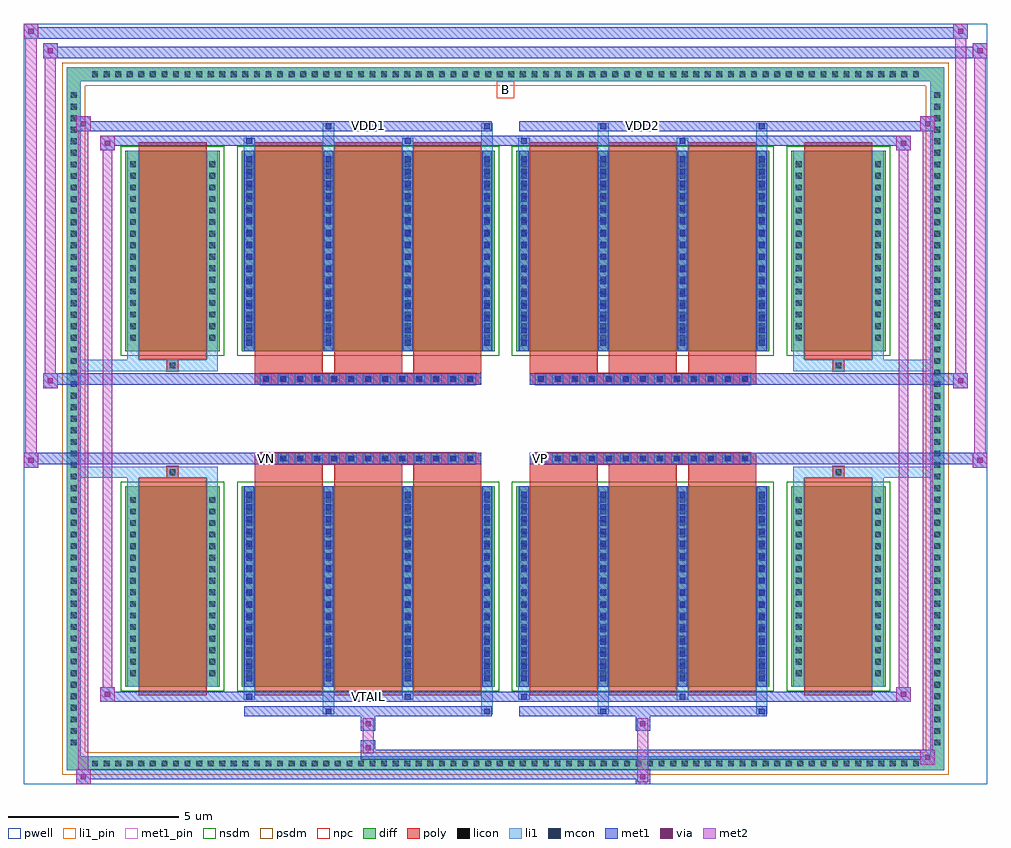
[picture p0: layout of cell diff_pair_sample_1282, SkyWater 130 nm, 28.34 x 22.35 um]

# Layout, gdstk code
import gdstk
lib = gdstk.Library(unit=1e-6, precision=5e-09)
def R(c, l, rs):  # rectangles x0, y0, x1, y1
    for r in rs: c.add(gdstk.rectangle(r[:2], r[2:], *l))
def A(c, l, x, y, w, h, nx, ny, dx, dy):  # array of equal rectangles
    R(c, l, [(x+i*dx, y+j*dy, x+i*dx+w, y+j*dy+h) for i in range(nx) for j in range(ny)])
def P(c, l, *ps):  # polygons
    for p in ps: c.add(gdstk.Polygon(p, *l))
pwell = (64, 44)
diff = (65, 20)
poly = (66, 20)
licon = (66, 44)
li1_pin = (67, 16)
li1 = (67, 20)
mcon = (67, 44)
met1_pin = (68, 16)
met1 = (68, 20)
via = (68, 44)
met2 = (69, 20)
nsdm = (93, 44)
psdm = (94, 20)
npc = (95, 20)

diff_pair_sample_1282 = lib.new_cell('diff_pair_sample_1282')
R(diff_pair_sample_1282, pwell, [(-14.17,-10.74,14.17,11.61), (-11.49,-8.93,-0.01,-0.805), (0.01,-8.93,11.49,-0.805), (-11.49,0.805,-0.01,8.93), (0.01,0.805,11.49,8.93)])
A(diff_pair_sample_1282, diff, -12.275, -10.34, 0.41, 0.41, 72, 2, 0.34, 20.27)
A(diff_pair_sample_1282, diff, -12.9, -9.725, 0.41, 0.41, 1, 57, 0, 0.34)
A(diff_pair_sample_1282, diff, 12.49, -9.725, 0.41, 0.41, 1, 57, 0, 0.34)
R(diff_pair_sample_1282, diff, [(-12.275,-10.34,12.275,-9.93), (-12.9,-9.725,-12.49,9.725), (12.49,-9.725,12.9,9.725), (-11.18,-7.885,-8.4,-1.985), (-7.76,-7.885,-0.32,-1.985), (0.32,-7.885,7.76,-1.985), (8.4,-7.885,11.18,-1.985), (-11.18,1.985,-8.4,7.885), (-7.76,1.985,-0.32,7.885), (0.32,1.985,7.76,7.885), (8.4,1.985,11.18,7.885), (-12.275,9.93,12.275,10.34)])
P(diff_pair_sample_1282, diff, [(12.9,10.34),(-12.9,10.34),(-12.9,-9.93),(-12.49,-9.93),(-12.49,9.93),(12.49,9.93),(12.49,-9.93),(-12.49,-9.93),(-12.9,-9.93),(-12.9,-10.34),(12.9,-10.34)])
A(diff_pair_sample_1282, poly, -7.37, -8.135, 2, 6.4, 3, 2, 2.33, 9.87)
A(diff_pair_sample_1282, poly, 0.71, -8.135, 2, 6.4, 3, 2, 2.33, 9.87)
A(diff_pair_sample_1282, poly, -7.37, -1.735, 2, 0.4, 3, 2, 2.33, 3.07)
A(diff_pair_sample_1282, poly, 0.71, -1.735, 2, 0.4, 3, 2, 2.33, 3.07)
A(diff_pair_sample_1282, poly, -7.205, -1.335, 0.33, 0.33, 13, 2, 0.5, 2.34)
A(diff_pair_sample_1282, poly, 0.875, -1.335, 0.33, 0.33, 13, 2, 0.5, 2.34)
R(diff_pair_sample_1282, poly, [(-10.79,-8.135,-8.79,-1.735), (8.79,-8.135,10.79,-1.735), (-9.955,-1.735,-9.625,-1.405), (-9.955,-1.735,-9.625,-1.405), (9.625,-1.735,9.955,-1.405), (9.625,-1.735,9.955,-1.405), (-7.37,-1.335,-0.71,-1.005), (0.71,-1.335,7.37,-1.005), (-7.37,1.005,-0.71,1.335), (0.71,1.005,7.37,1.335), (-9.955,1.405,-9.625,1.735), (-9.955,1.405,-9.625,1.735), (9.625,1.405,9.955,1.735), (9.625,1.405,9.955,1.735), (-10.79,1.735,-8.79,8.135), (8.79,1.735,10.79,8.135)])
A(diff_pair_sample_1282, licon, -12.155, -10.22, 0.17, 0.17, 72, 2, 0.34, 20.27)
A(diff_pair_sample_1282, licon, -12.78, -9.605, 0.17, 0.17, 1, 57, 0, 0.34)
A(diff_pair_sample_1282, licon, 12.61, -9.605, 0.17, 0.17, 1, 57, 0, 0.34)
A(diff_pair_sample_1282, licon, -11.04, -7.57, 0.17, 0.17, 1, 16, 0, 0.34)
A(diff_pair_sample_1282, licon, -8.71, -7.57, 0.17, 0.17, 1, 16, 0, 0.34)
A(diff_pair_sample_1282, licon, -7.62, -7.57, 0.17, 0.17, 4, 16, 2.33, 0.34)
A(diff_pair_sample_1282, licon, 0.46, -7.57, 0.17, 0.17, 4, 16, 2.33, 0.34)
A(diff_pair_sample_1282, licon, 8.54, -7.57, 0.17, 0.17, 1, 16, 0, 0.34)
A(diff_pair_sample_1282, licon, 10.87, -7.57, 0.17, 0.17, 1, 16, 0, 0.34)
A(diff_pair_sample_1282, licon, -7.125, -1.255, 0.17, 0.17, 13, 2, 0.5, 2.34)
A(diff_pair_sample_1282, licon, 0.955, -1.255, 0.17, 0.17, 13, 2, 0.5, 2.34)
A(diff_pair_sample_1282, licon, -11.04, 2.3, 0.17, 0.17, 1, 16, 0, 0.34)
A(diff_pair_sample_1282, licon, -8.71, 2.3, 0.17, 0.17, 1, 16, 0, 0.34)
A(diff_pair_sample_1282, licon, -7.62, 2.3, 0.17, 0.17, 4, 16, 2.33, 0.34)
A(diff_pair_sample_1282, licon, 0.46, 2.3, 0.17, 0.17, 4, 16, 2.33, 0.34)
A(diff_pair_sample_1282, licon, 8.54, 2.3, 0.17, 0.17, 1, 16, 0, 0.34)
A(diff_pair_sample_1282, licon, 10.87, 2.3, 0.17, 0.17, 1, 16, 0, 0.34)
R(diff_pair_sample_1282, licon, [(-9.875,-1.655,-9.705,-1.485), (9.705,-1.655,9.875,-1.485), (-9.875,1.485,-9.705,1.655), (9.705,1.485,9.875,1.655)])
R(diff_pair_sample_1282, li1_pin, [(-0.25,9.43,0.25,9.93)])
A(diff_pair_sample_1282, li1, -12.235, -10.3, 0.33, 0.33, 72, 2, 0.34, 20.27)
A(diff_pair_sample_1282, li1, -12.86, -9.685, 0.33, 0.33, 1, 57, 0, 0.34)
A(diff_pair_sample_1282, li1, 12.53, -9.685, 0.33, 0.33, 1, 57, 0, 0.34)
A(diff_pair_sample_1282, li1, -7.7, -7.885, 0.33, 5.9, 4, 2, 2.33, 9.87)
A(diff_pair_sample_1282, li1, 0.38, -7.885, 0.33, 5.9, 4, 2, 2.33, 9.87)
A(diff_pair_sample_1282, li1, -7.62, -7.72, 0.17, 0.17, 4, 16, 2.33, 0.36)
A(diff_pair_sample_1282, li1, -7.62, -7.72, 0.17, 5.57, 4, 2, 2.33, 9.87)
A(diff_pair_sample_1282, li1, 0.46, -7.72, 0.17, 0.17, 4, 16, 2.33, 0.36)
A(diff_pair_sample_1282, li1, 0.46, -7.72, 0.17, 5.57, 4, 2, 2.33, 9.87)
A(diff_pair_sample_1282, li1, -11.12, -7.65, 0.33, 0.33, 1, 16, 0, 0.34)
A(diff_pair_sample_1282, li1, -8.79, -7.65, 0.33, 0.33, 1, 16, 0, 0.34)
A(diff_pair_sample_1282, li1, -7.7, -7.65, 0.33, 0.33, 4, 16, 2.33, 0.34)
A(diff_pair_sample_1282, li1, 0.38, -7.65, 0.33, 0.33, 4, 16, 2.33, 0.34)
A(diff_pair_sample_1282, li1, 8.46, -7.65, 0.33, 0.33, 1, 16, 0, 0.34)
A(diff_pair_sample_1282, li1, 10.79, -7.65, 0.33, 0.33, 1, 16, 0, 0.34)
A(diff_pair_sample_1282, li1, -7.205, -1.335, 0.33, 0.33, 13, 2, 0.5, 2.34)
A(diff_pair_sample_1282, li1, 0.875, -1.335, 0.33, 0.33, 13, 2, 0.5, 2.34)
A(diff_pair_sample_1282, li1, -7.62, 2.15, 0.17, 0.17, 4, 16, 2.33, 0.36)
A(diff_pair_sample_1282, li1, 0.46, 2.15, 0.17, 0.17, 4, 16, 2.33, 0.36)
A(diff_pair_sample_1282, li1, -11.12, 2.22, 0.33, 0.33, 1, 16, 0, 0.34)
A(diff_pair_sample_1282, li1, -8.79, 2.22, 0.33, 0.33, 1, 16, 0, 0.34)
A(diff_pair_sample_1282, li1, -7.7, 2.22, 0.33, 0.33, 4, 16, 2.33, 0.34)
A(diff_pair_sample_1282, li1, 0.38, 2.22, 0.33, 0.33, 4, 16, 2.33, 0.34)
A(diff_pair_sample_1282, li1, 8.46, 2.22, 0.33, 0.33, 1, 16, 0, 0.34)
A(diff_pair_sample_1282, li1, 10.79, 2.22, 0.33, 0.33, 1, 16, 0, 0.34)
R(diff_pair_sample_1282, li1, [(-12.9,-10.34,-12.49,-9.93), (-12.9,-10.34,-12.49,-9.93), (-12.49,-10.34,12.49,-9.93), (12.49,-10.34,12.9,-9.93), (12.49,-10.34,12.9,-9.93), (-12.9,-9.93,-12.49,9.93), (12.49,-9.93,12.9,9.93), (-5.37,-8.69,-5.04,-7.885), (-5.29,-8.69,-5.12,-8.52), (-0.71,-8.69,-0.38,-7.885), (-0.63,-8.69,-0.46,-8.52), (2.71,-8.69,3.04,-7.885), (2.79,-8.69,2.96,-8.52), (7.37,-8.69,7.7,-7.885), (7.45,-8.69,7.62,-8.52), (-7.7,-8.26,-7.37,-7.885), (-7.62,-8.26,-7.45,-8.09), (-3.04,-8.26,-2.71,-7.885), (-2.96,-8.26,-2.79,-8.09), (0.38,-8.26,0.71,-7.885), (0.46,-8.26,0.63,-8.09), (5.04,-8.26,5.37,-7.885), (5.12,-8.26,5.29,-8.09), (-11.12,-7.885,-10.79,-1.985), (-8.79,-7.885,-8.46,-1.985), (8.46,-7.885,8.79,-1.985), (10.79,-7.885,11.12,-1.985), (-11.12,-1.985,-10.79,-1.405), (-8.79,-1.985,-8.46,-1.405), (8.46,-1.985,8.79,-1.405), (10.79,-1.985,11.12,-1.405), (-12.9,-1.735,-9.955,-1.405), (-11.12,-1.735,-9.955,-1.405), (-9.955,-1.735,-9.625,-1.405), (-9.625,-1.735,-8.46,-1.405), (8.46,-1.735,9.625,-1.405), (9.625,-1.735,9.955,-1.405), (9.625,-1.735,12.9,-1.405), (9.955,-1.735,11.12,-1.405), (-12.9,1.405,-9.955,1.735), (-11.12,1.405,-9.955,1.735), (-11.12,1.405,-10.79,1.985), (-9.955,1.405,-9.625,1.735), (-9.625,1.405,-8.46,1.735), (-8.79,1.405,-8.46,1.985), (8.46,1.405,9.625,1.735), (8.46,1.405,8.79,1.985), (9.625,1.405,9.955,1.735), (9.625,1.405,12.9,1.735), (9.955,1.405,11.12,1.735), (10.79,1.405,11.12,1.985), (-11.12,1.985,-10.79,7.885), (-8.79,1.985,-8.46,7.885), (8.46,1.985,8.79,7.885), (10.79,1.985,11.12,7.885), (-7.7,7.885,-7.37,8.26), (-5.37,7.885,-5.04,8.69), (-3.04,7.885,-2.71,8.26), (-0.71,7.885,-0.38,8.69), (0.38,7.885,0.71,8.26), (2.71,7.885,3.04,8.69), (5.04,7.885,5.37,8.26), (7.37,7.885,7.7,8.69), (-7.62,8.09,-7.45,8.26), (-2.96,8.09,-2.79,8.26), (0.46,8.09,0.63,8.26), (5.12,8.09,5.29,8.26), (-5.29,8.52,-5.12,8.69), (-0.63,8.52,-0.46,8.69), (2.79,8.52,2.96,8.69), (7.45,8.52,7.62,8.69), (-12.9,9.93,-12.49,10.34), (-12.9,9.93,-12.49,10.34), (-12.49,9.93,12.49,10.34), (12.49,9.93,12.9,10.34), (12.49,9.93,12.9,10.34)])
A(diff_pair_sample_1282, mcon, -7.62, -7.72, 0.17, 0.17, 4, 16, 2.33, 0.36)
A(diff_pair_sample_1282, mcon, 0.46, -7.72, 0.17, 0.17, 4, 16, 2.33, 0.36)
A(diff_pair_sample_1282, mcon, -7.125, -1.255, 0.17, 0.17, 13, 2, 0.5, 2.34)
A(diff_pair_sample_1282, mcon, 0.955, -1.255, 0.17, 0.17, 13, 2, 0.5, 2.34)
A(diff_pair_sample_1282, mcon, -7.62, 2.15, 0.17, 0.17, 4, 16, 2.33, 0.36)
A(diff_pair_sample_1282, mcon, 0.46, 2.15, 0.17, 0.17, 4, 16, 2.33, 0.36)
R(diff_pair_sample_1282, mcon, [(-5.29,-8.69,-5.12,-8.52), (-0.63,-8.69,-0.46,-8.52), (2.79,-8.69,2.96,-8.52), (7.45,-8.69,7.62,-8.52), (-7.62,-8.26,-7.45,-8.09), (-2.96,-8.26,-2.79,-8.09), (0.46,-8.26,0.63,-8.09), (5.12,-8.26,5.29,-8.09), (-7.62,8.09,-7.45,8.26), (-2.96,8.09,-2.79,8.26), (0.46,8.09,0.63,8.26), (5.12,8.09,5.29,8.26), (-5.29,8.52,-5.12,8.69), (-0.63,8.52,-0.46,8.69), (2.79,8.52,2.96,8.69), (7.45,8.52,7.62,8.69)])
R(diff_pair_sample_1282, met1_pin, [(-4.175,-8.3,-3.905,-8.03), (-7.175,-1.295,-6.905,-1.025), (0.905,-1.295,1.175,-1.025), (-4.175,8.48,-3.905,8.75), (3.905,8.48,4.175,8.75)])
A(diff_pair_sample_1282, met1, -7.68, -7.885, 0.29, 5.9, 4, 2, 2.33, 9.87)
A(diff_pair_sample_1282, met1, 0.4, -7.885, 0.29, 5.9, 4, 2, 2.33, 9.87)
A(diff_pair_sample_1282, met1, -7.68, -7.78, 0.29, 0.29, 4, 16, 2.33, 0.36)
A(diff_pair_sample_1282, met1, 0.4, -7.78, 0.29, 0.29, 4, 16, 2.33, 0.36)
A(diff_pair_sample_1282, met1, -7.185, -1.315, 0.29, 0.29, 13, 2, 0.5, 2.34)
A(diff_pair_sample_1282, met1, 0.895, -1.315, 0.29, 0.29, 13, 2, 0.5, 2.34)
A(diff_pair_sample_1282, met1, -7.68, 2.09, 0.29, 0.29, 4, 16, 2.33, 0.36)
A(diff_pair_sample_1282, met1, 0.4, 2.09, 0.29, 0.29, 4, 16, 2.33, 0.36)
R(diff_pair_sample_1282, met1, [(-12.63,-10.74,-12.2,-10.31), (3.825,-10.74,4.255,-10.31), (-12.63,-10.6,4.255,-10.31), (12.2,-10.17,12.63,-9.74), (-4.255,-10.03,12.63,-9.74), (-4.255,-9.89,-3.825,-9.46), (-4.255,-9.18,-3.825,-8.75), (3.825,-9.18,4.255,-8.75), (-7.68,-8.75,-0.4,-8.46), (-5.35,-8.75,-5.06,-8.46), (-0.69,-8.75,-0.4,-8.46), (0.4,-8.75,7.68,-8.46), (2.73,-8.75,3.02,-8.46), (7.39,-8.75,7.68,-8.46), (-11.92,-8.32,-11.49,-7.89), (-11.92,-8.32,-7.68,-8.03), (-7.68,-8.32,-7.39,-8.03), (-7.68,-8.32,-0.4,-8.03), (-3.02,-8.32,-2.73,-8.03), (-0.4,-8.32,0.4,-8.03), (0.4,-8.32,0.69,-8.03), (0.4,-8.32,7.68,-8.03), (5.06,-8.32,5.35,-8.03), (7.68,-8.32,11.92,-8.03), (11.49,-8.32,11.92,-7.89), (-14.17,-1.435,-13.74,-1.005), (13.74,-1.435,14.17,-1.005), (-14.17,-1.335,-0.71,-1.005), (-7.37,-1.335,-0.71,-1.005), (0.71,-1.335,7.37,-1.005), (0.71,-1.335,14.17,-1.005), (-13.6,0.905,-13.17,1.335), (13.17,0.905,13.6,1.335), (-13.6,1.005,-7.37,1.335), (-7.37,1.005,-0.71,1.335), (0.71,1.005,7.37,1.335), (7.37,1.005,13.6,1.335), (-11.92,7.89,-11.49,8.32), (11.49,7.89,11.92,8.32), (-11.92,8.03,-7.68,8.32), (-7.68,8.03,-7.39,8.32), (-7.68,8.03,-0.4,8.32), (-3.02,8.03,-2.73,8.32), (-0.4,8.03,0.4,8.32), (0.4,8.03,0.69,8.32), (0.4,8.03,7.68,8.32), (5.06,8.03,5.35,8.32), (7.68,8.03,11.92,8.32), (-12.63,8.46,-12.2,8.89), (-12.63,8.46,-7.68,8.75), (-7.68,8.46,-0.4,8.75), (-5.35,8.46,-5.06,8.75), (-0.69,8.46,-0.4,8.75), (0.4,8.46,7.68,8.75), (2.73,8.46,3.02,8.75), (7.39,8.46,7.68,8.75), (7.68,8.46,12.63,8.75), (12.2,8.46,12.63,8.89), (-13.6,10.61,-13.17,11.04), (-13.6,10.61,-11.49,10.94), (-11.49,10.61,11.49,10.94), (11.49,10.61,14.17,10.94), (13.74,10.61,14.17,11.04), (-14.17,11.18,-13.74,11.61), (-14.17,11.18,-11.49,11.51), (-11.49,11.18,11.49,11.51), (11.49,11.18,13.6,11.51), (13.17,11.18,13.6,11.61)])
R(diff_pair_sample_1282, via, [(-12.49,-10.6,-12.34,-10.45), (3.965,-10.6,4.115,-10.45), (12.34,-10.03,12.49,-9.88), (-4.115,-9.75,-3.965,-9.6), (-4.115,-9.04,-3.965,-8.89), (3.965,-9.04,4.115,-8.89), (-11.78,-8.18,-11.63,-8.03), (11.63,-8.18,11.78,-8.03), (-14.03,-1.295,-13.88,-1.145), (13.88,-1.295,14.03,-1.145), (-13.46,1.045,-13.31,1.195), (13.31,1.045,13.46,1.195), (-11.78,8.03,-11.63,8.18), (11.63,8.03,11.78,8.18), (-12.49,8.6,-12.34,8.75), (12.34,8.6,12.49,8.75), (-13.46,10.75,-13.31,10.9), (13.88,10.75,14.03,10.9), (-14.03,11.32,-13.88,11.47), (13.31,11.32,13.46,11.47)])
R(diff_pair_sample_1282, met2, [(-12.63,-10.74,-12.2,-10.31), (-12.56,-10.74,-12.27,8.89), (-12.27,-10.74,-12.2,-10.31), (-12.58,-10.69,-12.25,-10.36), (3.875,-10.69,4.205,-10.36), (3.875,-10.36,4.205,-9.13), (12.2,-10.17,12.63,-9.74), (12.27,-10.17,12.56,8.89), (12.56,-10.17,12.63,-9.74), (12.25,-10.12,12.58,-9.79), (-4.205,-9.84,-3.875,-9.51), (-4.205,-9.51,-3.875,-9.13), (-4.205,-9.13,-3.875,-8.8), (3.875,-9.13,4.205,-8.8), (-11.92,-8.32,-11.49,-7.89), (-11.85,-8.32,-11.56,8.32), (-11.56,-8.32,-11.49,-7.89), (11.49,-8.32,11.92,-7.89), (11.56,-8.32,11.85,8.32), (11.85,-8.32,11.92,-7.89), (-11.87,-8.27,-11.54,-7.94), (11.54,-8.27,11.87,-7.94), (-14.17,-1.435,-13.74,-1.005), (-14.12,-1.435,-13.79,11.61), (-13.79,-1.435,-13.74,-1.005), (13.74,-1.435,14.17,-1.005), (13.79,-1.435,14.12,11.04), (14.12,-1.435,14.17,-1.005), (-14.12,-1.385,-13.79,-1.055), (13.79,-1.385,14.12,-1.055), (-13.6,0.905,-13.17,1.335), (-13.55,0.905,-13.22,11.04), (-13.22,0.905,-13.17,1.335), (13.17,0.905,13.6,1.335), (13.22,0.905,13.55,11.61), (13.55,0.905,13.6,1.335), (-13.55,0.955,-13.22,1.285), (13.22,0.955,13.55,1.285), (-11.92,7.89,-11.49,8.32), (-11.56,7.89,-11.49,8.32), (11.49,7.89,11.92,8.32), (11.85,7.89,11.92,8.32), (-11.87,7.94,-11.54,8.27), (11.54,7.94,11.87,8.27), (-12.63,8.46,-12.2,8.89), (-12.27,8.46,-12.2,8.89), (12.2,8.46,12.63,8.89), (12.56,8.46,12.63,8.89), (-12.58,8.51,-12.25,8.84), (12.25,8.51,12.58,8.84), (-13.6,10.61,-13.17,11.04), (-13.22,10.61,-13.17,11.04), (13.74,10.61,14.17,11.04), (14.12,10.61,14.17,11.04), (-13.55,10.66,-13.22,10.99), (13.79,10.66,14.12,10.99), (-14.17,11.18,-13.74,11.61), (-13.79,11.18,-13.74,11.61), (13.17,11.18,13.6,11.61), (13.55,11.18,13.6,11.61), (-14.12,11.23,-13.79,11.56), (13.22,11.23,13.55,11.56)])
R(diff_pair_sample_1282, nsdm, [(-11.31,-8.015,-8.27,-1.855), (-7.89,-8.015,-0.19,-1.855), (0.19,-8.015,7.89,-1.855), (8.27,-8.015,11.31,-1.855), (-11.31,1.855,-8.27,8.015), (-7.89,1.855,-0.19,8.015), (0.19,1.855,7.89,8.015), (8.27,1.855,11.31,8.015)])
P(diff_pair_sample_1282, psdm, [(13.03,10.47),(-13.03,10.47),(-13.03,-9.8),(-12.36,-9.8),(-12.36,9.8),(12.36,9.8),(12.36,-9.8),(-12.36,-9.8),(-13.03,-9.8),(-13.03,-10.47),(13.03,-10.47)])
A(diff_pair_sample_1282, npc, -7.225, -1.355, 0.37, 0.37, 13, 2, 0.5, 2.34)
A(diff_pair_sample_1282, npc, 0.855, -1.355, 0.37, 0.37, 13, 2, 0.5, 2.34)
R(diff_pair_sample_1282, npc, [(-9.975,-1.755,-9.605,-1.385), (9.605,-1.755,9.975,-1.385), (-7.225,-1.355,-6.355,-0.985), (-7.225,-1.355,-6.355,-0.985), (-6.725,-1.355,-5.855,-0.985), (-6.725,-1.355,-5.855,-0.985), (-6.225,-1.355,-5.355,-0.985), (-6.225,-1.355,-5.355,-0.985), (-5.725,-1.355,-4.855,-0.985), (-5.725,-1.355,-4.855,-0.985), (-5.225,-1.355,-4.355,-0.985), (-5.225,-1.355,-4.355,-0.985), (-4.725,-1.355,-3.855,-0.985), (-4.725,-1.355,-3.855,-0.985), (-4.225,-1.355,-3.355,-0.985), (-4.225,-1.355,-3.355,-0.985), (-3.725,-1.355,-2.855,-0.985), (-3.725,-1.355,-2.855,-0.985), (-3.225,-1.355,-2.355,-0.985), (-3.225,-1.355,-2.355,-0.985), (-2.725,-1.355,-1.855,-0.985), (-2.725,-1.355,-1.855,-0.985), (-2.225,-1.355,-1.355,-0.985), (-2.225,-1.355,-1.355,-0.985), (-1.725,-1.355,-0.855,-0.985), (-1.725,-1.355,-0.855,-0.985), (0.855,-1.355,1.725,-0.985), (0.855,-1.355,1.725,-0.985), (1.355,-1.355,2.225,-0.985), (1.355,-1.355,2.225,-0.985), (1.855,-1.355,2.725,-0.985), (1.855,-1.355,2.725,-0.985), (2.355,-1.355,3.225,-0.985), (2.355,-1.355,3.225,-0.985), (2.855,-1.355,3.725,-0.985), (2.855,-1.355,3.725,-0.985), (3.355,-1.355,4.225,-0.985), (3.355,-1.355,4.225,-0.985), (3.855,-1.355,4.725,-0.985), (3.855,-1.355,4.725,-0.985), (4.355,-1.355,5.225,-0.985), (4.355,-1.355,5.225,-0.985), (4.855,-1.355,5.725,-0.985), (4.855,-1.355,5.725,-0.985), (5.355,-1.355,6.225,-0.985), (5.355,-1.355,6.225,-0.985), (5.855,-1.355,6.725,-0.985), (5.855,-1.355,6.725,-0.985), (6.355,-1.355,7.225,-0.985), (6.355,-1.355,7.225,-0.985), (-7.225,0.985,-6.355,1.355), (-7.225,0.985,-6.355,1.355), (-6.725,0.985,-5.855,1.355), (-6.725,0.985,-5.855,1.355), (-6.225,0.985,-5.355,1.355), (-6.225,0.985,-5.355,1.355), (-5.725,0.985,-4.855,1.355), (-5.725,0.985,-4.855,1.355), (-5.225,0.985,-4.355,1.355), (-5.225,0.985,-4.355,1.355), (-4.725,0.985,-3.855,1.355), (-4.725,0.985,-3.855,1.355), (-4.225,0.985,-3.355,1.355), (-4.225,0.985,-3.355,1.355), (-3.725,0.985,-2.855,1.355), (-3.725,0.985,-2.855,1.355), (-3.225,0.985,-2.355,1.355), (-3.225,0.985,-2.355,1.355), (-2.725,0.985,-1.855,1.355), (-2.725,0.985,-1.855,1.355), (-2.225,0.985,-1.355,1.355), (-2.225,0.985,-1.355,1.355), (-1.725,0.985,-0.855,1.355), (-1.725,0.985,-0.855,1.355), (0.855,0.985,1.725,1.355), (0.855,0.985,1.725,1.355), (1.355,0.985,2.225,1.355), (1.355,0.985,2.225,1.355), (1.855,0.985,2.725,1.355), (1.855,0.985,2.725,1.355), (2.355,0.985,3.225,1.355), (2.355,0.985,3.225,1.355), (2.855,0.985,3.725,1.355), (2.855,0.985,3.725,1.355), (3.355,0.985,4.225,1.355), (3.355,0.985,4.225,1.355), (3.855,0.985,4.725,1.355), (3.855,0.985,4.725,1.355), (4.355,0.985,5.225,1.355), (4.355,0.985,5.225,1.355), (4.855,0.985,5.725,1.355), (4.855,0.985,5.725,1.355), (5.355,0.985,6.225,1.355), (5.355,0.985,6.225,1.355), (5.855,0.985,6.725,1.355), (5.855,0.985,6.725,1.355), (6.355,0.985,7.225,1.355), (6.355,0.985,7.225,1.355), (-9.975,1.385,-9.605,1.755), (9.605,1.385,9.975,1.755)])
diff_pair_sample_1282.add(gdstk.Label('VTAIL', (-4.04,-8.165), layer=68, texttype=5))
diff_pair_sample_1282.add(gdstk.Label('VN', (-7.04,-1.16), layer=68, texttype=5))
diff_pair_sample_1282.add(gdstk.Label('VP', (1.04,-1.16), layer=68, texttype=5))
diff_pair_sample_1282.add(gdstk.Label('B', (0,9.68), layer=67, texttype=5))
diff_pair_sample_1282.add(gdstk.Label('VDD2', (4.04,8.615), layer=68, texttype=5))
diff_pair_sample_1282.add(gdstk.Label('VDD1', (-4.04,8.615), layer=68, texttype=5))

lib.write_gds('diff_pair_sample_1282.gds')
